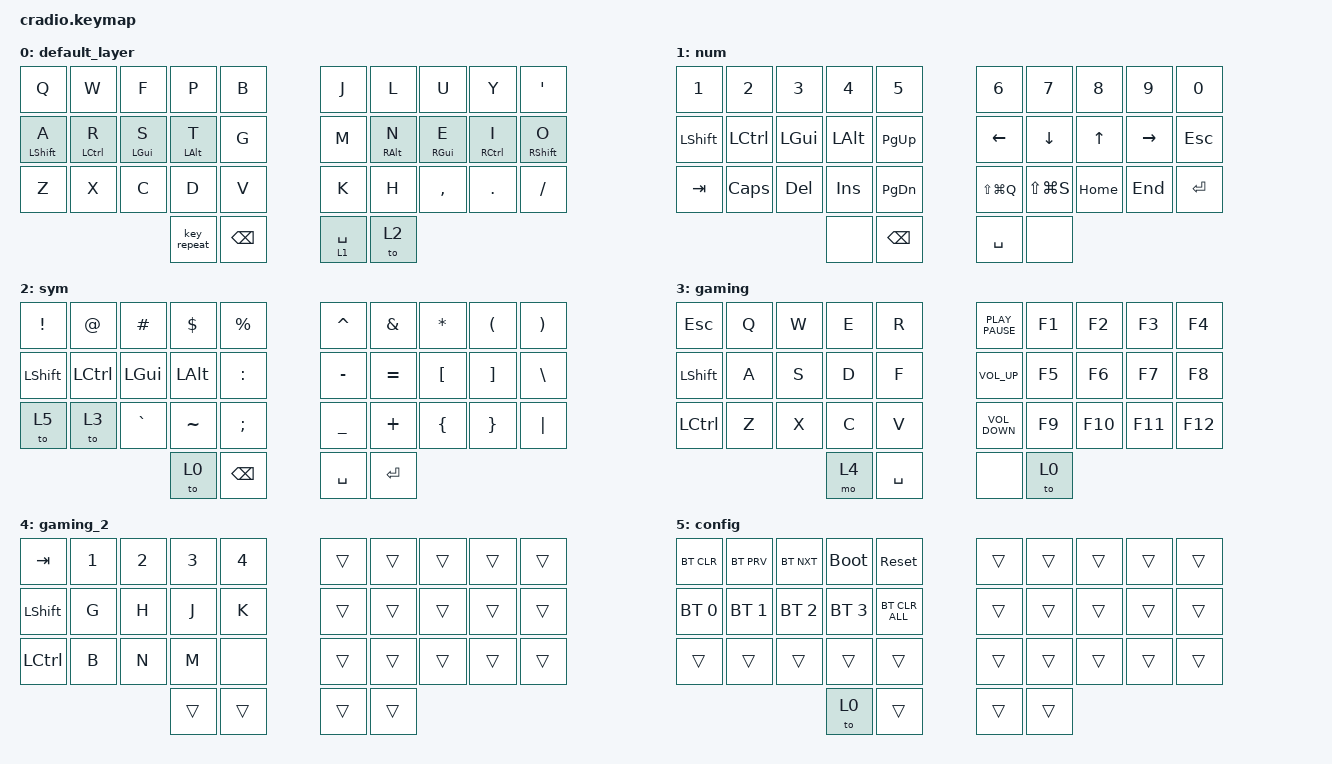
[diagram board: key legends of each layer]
// Copyright (c) 2022 The ZMK Contributors
// SPDX-License-Identifier: MIT

#include <behaviors.dtsi>
#include <dt-bindings/zmk/bt.h>
#include <dt-bindings/zmk/keys.h>
#include "chording.keymap"

&mt { flavor = "tap-preferred"; };

/ {
    behaviors {
        ht: hold_tap {
            label = "hold_tap";
            compatible = "zmk,behavior-hold-tap";
            #binding-cells = <2>;
            flavor = "tap-preferred";
            tapping-term-ms = <220>;
            quick-tap-ms = <150>;
            global-quick-tap;
            bindings = <&kp>, <&kp>;
        };
    };

    combos {
        compatible = "zmk,combos";

        caps {
            bindings = <&caps_word>;
            key-positions = <20 29>;
            layers = <0>;
        };

        deletenextword {
            bindings = <&deletenextword>;
            key-positions = <31 32>;
        };
    };

    macros {
        deletenextword: deletenextword {
            compatible = "zmk,behavior-macro";
            label = "new_macro";
            #binding-cells = <0>;
            bindings = <&kp LC(RIGHT) &kp LA(BACKSPACE)>;
        };
    };

    keymap {
        compatible = "zmk,keymap";

        default_layer {
            bindings = <
&kp Q             &kp W               &kp F           &kp P           &kp B          &kp J        &kp L            &kp U            &kp Y                &kp APOS
&mt LEFT_SHIFT A  &mt LEFT_CONTROL R  &mt LEFT_GUI S  &mt LEFT_ALT T  &kp G          &kp M        &mt RIGHT_ALT N  &mt RIGHT_GUI E  &mt RIGHT_CONTROL I  &mt RSHFT O
&kp Z             &kp X               &kp C           &kp D           &kp V          &kp K        &kp H            &kp COMMA        &kp PERIOD           &kp SLASH
                                                      &key_repeat     &kp BACKSPACE  &lt 1 SPACE  &to 2
            >;
        };

        num {
            bindings = <
&kp NUMBER_1    &kp NUMBER_2      &kp NUMBER_3  &kp NUMBER_4  &kp NUMBER_5   &kp NUMBER_6   &kp NUMBER_7   &kp NUMBER_8  &kp NUMBER_9  &kp NUMBER_0
&kp LEFT_SHIFT  &kp LEFT_CONTROL  &kp LEFT_GUI  &kp LEFT_ALT  &kp PAGE_UP    &kp LEFT       &kp DOWN       &kp UP        &kp RIGHT     &kp ESC
&kp TAB         &kp CAPS          &kp DELETE    &kp INSERT    &kp PAGE_DOWN  &kp LS(LG(Q))  &kp LS(LG(S))  &kp HOME      &kp END       &kp ENTER
                                                &none         &kp BACKSPACE  &kp SPACE      &none
            >;
        };

        sym {
            bindings = <
&kp EXCL        &kp AT            &kp HASH      &kp DOLLAR    &kp PERCENT    &kp CARET  &kp AMPS   &kp ASTRK         &kp LEFT_PARENTHESIS  &kp RIGHT_PARENTHESIS
&kp LEFT_SHIFT  &kp LEFT_CONTROL  &kp LEFT_GUI  &kp LEFT_ALT  &kp COLON      &kp MINUS  &kp EQUAL  &kp LEFT_BRACKET  &kp RIGHT_BRACKET     &kp BACKSLASH
&to 5           &to 3             &kp GRAVE     &kp TILDE     &kp SEMI       &kp UNDER  &kp PLUS   &kp LEFT_BRACE    &kp RIGHT_BRACE       &kp PIPE
                                                &to 0         &kp BACKSPACE  &kp SPACE  &kp ENTER
            >;
        };

        gaming {
            bindings = <
&kp ESCAPE        &kp Q  &kp W  &kp E  &kp R      &kp K_PLAY_PAUSE   &kp F1  &kp F2   &kp F3   &kp F4
&kp LEFT_SHIFT    &kp A  &kp S  &kp D  &kp F      &kp K_VOLUME_UP    &kp F5  &kp F6   &kp F7   &kp F8
&kp LEFT_CONTROL  &kp Z  &kp X  &kp C  &kp V      &kp K_VOLUME_DOWN  &kp F9  &kp F10  &kp F11  &kp F12
                                &mo 4  &kp SPACE  &none              &to 0
            >;
        };

        gaming_2 {
            bindings = <
&kp TAB           &kp NUMBER_1  &kp NUMBER_2  &kp NUMBER_3  &kp NUMBER_4  &trans  &trans  &trans  &trans  &trans
&kp LEFT_SHIFT    &kp G         &kp H         &kp J         &kp K         &trans  &trans  &trans  &trans  &trans
&kp LEFT_CONTROL  &kp B         &kp N         &kp M         &none         &trans  &trans  &trans  &trans  &trans
                                              &trans        &trans        &trans  &trans
            >;
        };

        config {
            bindings = <
&bt BT_CLR    &bt BT_PRV    &bt BT_NXT    &bootloader   &sys_reset      &trans  &trans  &trans  &trans  &trans
&bt BT_SEL 0  &bt BT_SEL 1  &bt BT_SEL 2  &bt BT_SEL 3  &bt BT_CLR_ALL  &trans  &trans  &trans  &trans  &trans
&trans        &trans        &trans        &trans        &trans          &trans  &trans  &trans  &trans  &trans
                                          &to 0         &trans          &trans  &trans
            >;
        };
    };
};
